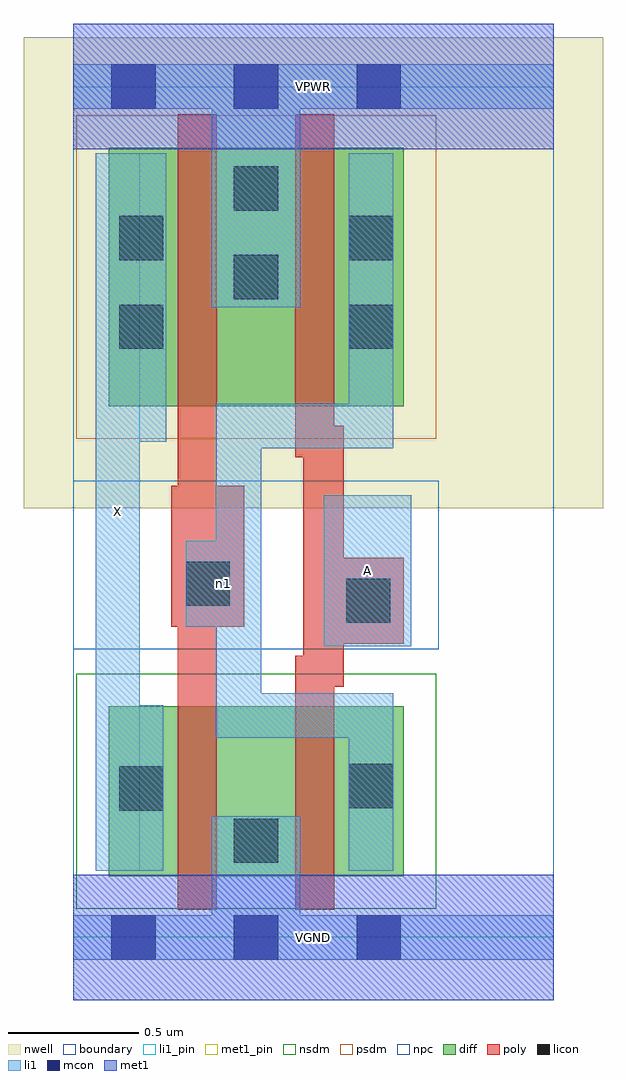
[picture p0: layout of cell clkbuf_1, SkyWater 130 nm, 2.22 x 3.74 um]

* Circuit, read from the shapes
.subckt clkbuf_1 A VGND VPWR X n1
XM1 VGND n1 X VSUBS sky130_fd_pr__nfet_01v8 w=0.65 l=0.15
XM2 n1 A VGND VSUBS sky130_fd_pr__nfet_01v8 w=0.65 l=0.15
XM3 VPWR n1 X n2 sky130_fd_pr__pfet_01v8 w=0.99 l=0.15
XM4 n1 A VPWR n2 sky130_fd_pr__pfet_01v8 w=0.99 l=0.15
.ends

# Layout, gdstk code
import gdstk
lib = gdstk.Library(unit=1e-6, precision=1e-09)
def R(c, l, rs):  # rectangles x0, y0, x1, y1
    for r in rs: c.add(gdstk.rectangle(r[:2], r[2:], *l))
def A(c, l, x, y, w, h, nx, ny, dx, dy):  # array of equal rectangles
    R(c, l, [(x+i*dx, y+j*dy, x+i*dx+w, y+j*dy+h) for i in range(nx) for j in range(ny)])
nwell = (64, 20)
diff = (65, 20)
poly = (66, 20)
licon = (66, 44)
li1_pin = (67, 16)
li1 = (67, 20)
mcon = (67, 44)
met1_pin = (68, 16)
met1 = (68, 20)
nsdm = (93, 44)
psdm = (94, 20)
npc = (95, 20)
boundary = (235, 4)

clkbuf_1 = lib.new_cell('clkbuf_1')
R(clkbuf_1, nwell, [(-0.19,1.645,2.03,3.45), (0,1.645,1.84,3.45)])
R(clkbuf_1, diff, [(0.135,0.235,1.265,0.885), (0.135,2.035,1.265,3.025)])
R(clkbuf_1, poly, [(0.4,0.105,0.55,3.155), (0.85,0.105,1,1.08), (0.88,0.96,1.035,1.96), (0.88,1.125,1.265,1.455), (0.375,1.19,0.655,1.73), (0.85,1.84,1,3.155)])
R(clkbuf_1, licon, [(0.615,0.285,0.785,0.455), (0.175,0.485,0.345,0.655), (1.055,0.495,1.225,0.665), (1.045,1.205,1.215,1.375), (0.43,1.27,0.6,1.44), (0.175,2.255,0.345,2.425), (1.055,2.255,1.225,2.425), (0.615,2.445,0.785,2.615), (0.175,2.595,0.345,2.765), (1.055,2.595,1.225,2.765), (0.615,2.785,0.785,2.955)])
R(clkbuf_1, li1_pin, [(0.085,0.255,0.255,3.005), (0.96,1.115,1.295,1.695)])
R(clkbuf_1, li1, [(0,-0.085,1.84,0.085), (0.53,-0.085,0.87,0.465), (0.085,0.255,0.255,3.005), (0.085,0.255,0.345,0.89), (1.055,0.255,1.225,0.935), (0.545,0.765,0.72,2.045), (0.545,0.765,1.225,0.935), (0.96,1.115,1.295,1.695), (0.43,1.19,0.72,1.52), (0.545,1.875,1.225,2.045), (1.055,1.875,1.225,3.005), (0.085,1.9,0.355,3.005), (0.53,2.415,0.87,3.345), (0,3.175,1.84,3.345)])
A(clkbuf_1, mcon, 0.145, -0.085, 0.17, 0.17, 3, 2, 0.47, 3.26)
R(clkbuf_1, met1_pin, [(0,-0.24,1.84,0.24), (0,3.02,1.84,3.5)])
R(clkbuf_1, met1, [(0,-0.24,1.84,0.24), (0,3.02,1.84,3.5)])
R(clkbuf_1, nsdm, [(0.01,0.11,1.39,1.01)])
R(clkbuf_1, psdm, [(0.01,1.91,1.39,3.15)])
R(clkbuf_1, npc, [(0,1.105,1.4,1.75)])
R(clkbuf_1, boundary, [(0,0,1.84,3.26)])
clkbuf_1.add(gdstk.Label('A', (1.127,1.405), layer=67, texttype=5))
clkbuf_1.add(gdstk.Label('X', (0.17,1.63), layer=67, texttype=5))
clkbuf_1.add(gdstk.Label('n1', (0.575,1.355), layer=67, texttype=5))
clkbuf_1.add(gdstk.Label('VPWR', (0.92,3.26), layer=68, texttype=5))
clkbuf_1.add(gdstk.Label('VGND', (0.92,0), layer=68, texttype=5))
clkbuf_1.add(gdstk.Label('A', (1.127,1.405), layer=67, texttype=16))
clkbuf_1.add(gdstk.Label('X', (0.17,1.63), layer=67, texttype=16))
clkbuf_1.add(gdstk.Label('VPWR', (0.92,3.26), layer=68, texttype=16))
clkbuf_1.add(gdstk.Label('VGND', (0.92,0), layer=68, texttype=16))

lib.write_gds('clkbuf_1.gds')
